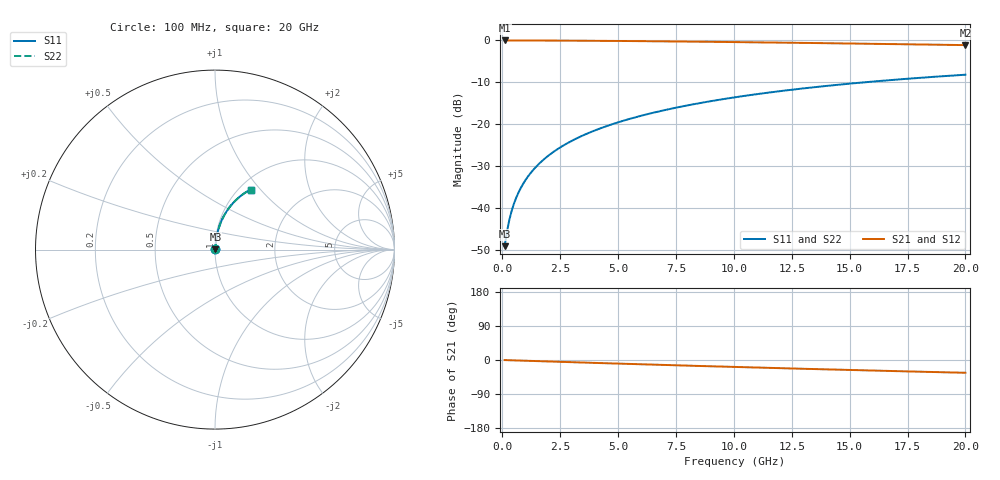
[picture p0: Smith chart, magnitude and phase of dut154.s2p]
! Touchstone file exported from HFSS 2024.1.0
!  File:  C:/UserFiles/LocalFiles/RDL_TSV_Batchsim/temp_RDL_top_154_1778685216.aedt
!  Generated:  11:16:06 PM May 13, 2026
!  Design:  RDL_top
!  Project:  temp_RDL_top_154_1778685216
!  Setup:  Setup1
!  Solution:  Sweep
! Variables:
!  dtsv = 10.80580581um
!  hbump = 3um
!  htsv = 99.17um
!  ldown = 100um
!  lrdl = 412.57um
!  p = 40
!  p1 = 52.36um
!  rhole = 1um
!  t = 450um
!  tdown = 3.915915916um
!  trdl = 3.96um
!  wdown = 15.38538539um
!  wrdl = 14.13um
# GHz S MA R 50.000000
! Terminal data exported
! Port[1] = Box2_T1
! Port[2] = Box2_T2
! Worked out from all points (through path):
!   200 points, 100 MHz to 20 GHz, reference 50 ohm
!   highest |S21| = -0.02 dB at 100 MHz (marker M1); lowest = -1.1 dB at 20 GHz (marker M2)
!   group delay of S21, straight-line fit = 4.67 ps
!   lowest |S11| = -49.1 dB at 100 MHz (marker M3), VSWR 1.01, Z = 50.3 + j0.22 ohm
!   |S11| at or under -10 dB: start of sweep to 15.66 GHz
!   |S22| runs from -49.1 to -8.2 dB; largest |S21 - S12| = 2.1e-15
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0.1  0.003494 38.8  0.9973 -0.2  0.9973 -0.2  0.003494 38.8
! Gamma 0 0 0 0
! Port Impedance 50 0 50 0
0.2  0.005175 57.4  0.9972 -0.4  0.9972 -0.4  0.005175 57.4
0.3  0.007114 66.2  0.9971 -0.6  0.9971 -0.6  0.007114 66.2
0.4  0.009127 71.0  0.997 -0.8  0.997 -0.8  0.009127 71.0
0.5  0.01116 74.0  0.9969 -1.0  0.9969 -1.0  0.01116 74.0
0.6  0.01321 76.0  0.9968 -1.2  0.9968 -1.2  0.01321 76.0
0.8  0.01732 78.7  0.9966 -1.6  0.9966 -1.6  0.01732 78.7
1.1  0.02352 80.8  0.9962 -2.1  0.9962 -2.1  0.02352 80.8
1.5  0.03183 82.2  0.9956 -2.9  0.9956 -2.9  0.03183 82.1
1.8  0.03808 82.6  0.995 -3.5  0.995 -3.5  0.03808 82.6
2.1  0.04435 82.9  0.9943 -4.1  0.9943 -4.1  0.04435 82.9
2.7  0.0569 82.9  0.9928 -5.2  0.9928 -5.2  0.0569 82.9
3.5  0.07366 82.5  0.9901 -6.7  0.9901 -6.7  0.07366 82.5
4.2  0.08833 81.9  0.9874 -8.0  0.9874 -8.0  0.08833 81.9
5  0.1051 81.0  0.9838 -9.5  0.9838 -9.5  0.1051 81.0
5.9  0.1239 80.0  0.9793 -11.1  0.9793 -11.1  0.1239 79.9
6.8  0.1426 78.8  0.9744 -12.8  0.9744 -12.8  0.1426 78.8
8.3  0.1736 76.7  0.9654 -15.4  0.9654 -15.4  0.1736 76.7
10.1  0.2102 74.1  0.9535 -18.4  0.9535 -18.4  0.2102 74.1
13.4  0.2746 69.1  0.9297 -23.8  0.9297 -23.8  0.2746 69.1
16.7  0.3345 64.2  0.9042 -28.9  0.9042 -28.9  0.3344 64.2
20  0.3889 59.4  0.8775 -33.7  0.8775 -33.7  0.3889 59.4
